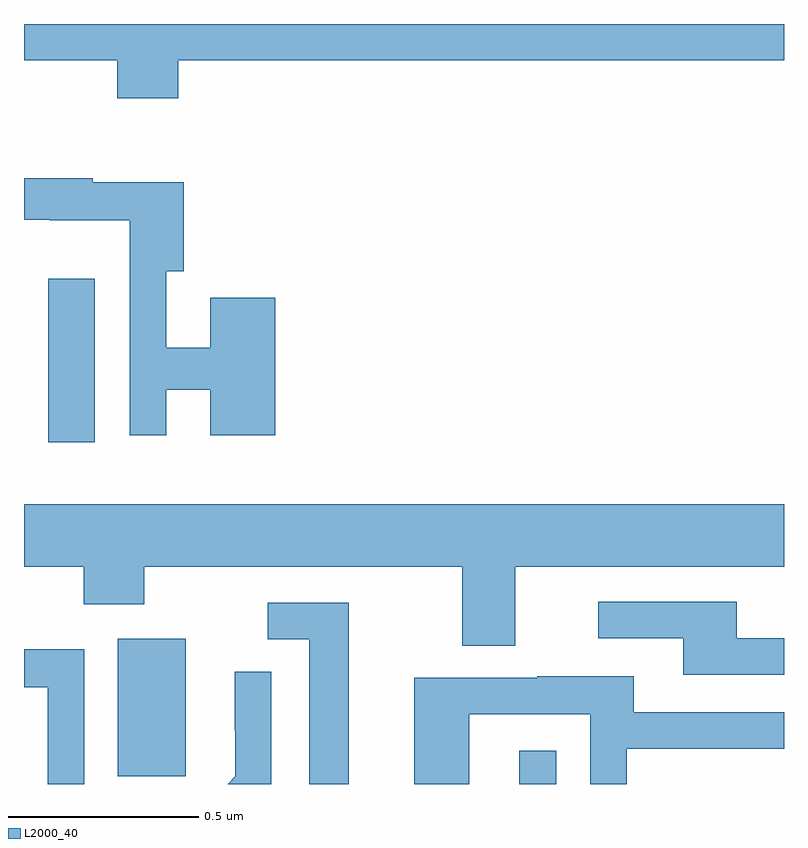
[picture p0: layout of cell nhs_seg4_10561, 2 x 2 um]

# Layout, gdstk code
import gdstk
lib = gdstk.Library(unit=1e-6, precision=1e-09)
def R(c, l, rs):  # rectangles x0, y0, x1, y1
    for r in rs: c.add(gdstk.rectangle(r[:2], r[2:], *l))
def P(c, l, *ps):  # polygons
    for p in ps: c.add(gdstk.Polygon(p, *l))
L2000_40 = (2000, 40)

nhs_seg4_10561 = lib.new_cell('nhs_seg4_10561')
R(nhs_seg4_10561, L2000_40, [(242.303,810.9,242.4,810.988), (241.247,810.921,241.426,811.282), (241.064,811.8,241.186,812.23)])
P(nhs_seg4_10561, L2000_40, [(241.406,812.804),(243,812.804),(243,812.9),(241,812.9),(241,812.804),(241.246,812.804),(241.246,812.705),(241.406,812.705)],
  [(241.374,811.938),(241.49,811.938),(241.49,811.818),(241.661,811.818),(241.661,812.179),(241.49,812.179),(241.49,812.048),(241.374,812.048),(241.374,812.249),(241.421,812.249),(241.421,812.484),(241.181,812.484),(241.181,812.494),(241,812.494),(241,812.385),(241.068,812.385),(241.068,812.384),(241.278,812.384),(241.278,811.818),(241.374,811.818)],
  [(242.293,811.472),(243,811.472),(243,811.636),(241,811.636),(241,811.472),(241.157,811.472),(241.157,811.373),(241.317,811.373),(241.317,811.472),(242.153,811.472),(242.153,811.264),(242.293,811.264)],
  [(243,811.284),(242.875,811.284),(242.875,811.38),(242.511,811.38),(242.511,811.284),(242.735,811.284),(242.735,811.188),(243,811.188)],
  [(241.855,811.377),(241.641,811.377),(241.641,811.281),(241.751,811.281),(241.751,810.9),(241.855,810.9)],
  [(241.158,811.254),(241,811.254),(241,811.155),(241.062,811.155),(241.062,810.9),(241.158,810.9)],
  [(241.65,811.196),(241.554,811.196),(241.554,811.042),(241.556,811.042),(241.556,810.92),(241.536,810.9),(241.65,810.9)],
  [(242.172,811.083),(242.49,811.083),(242.49,810.9),(242.586,810.9),(242.586,810.993),(243,810.993),(243,811.089),(242.605,811.089),(242.605,811.183),(242.351,811.183),(242.351,811.179),(242.027,811.179),(242.027,810.9),(242.172,810.9)])

lib.write_gds('nhs_seg4_10561.gds')
